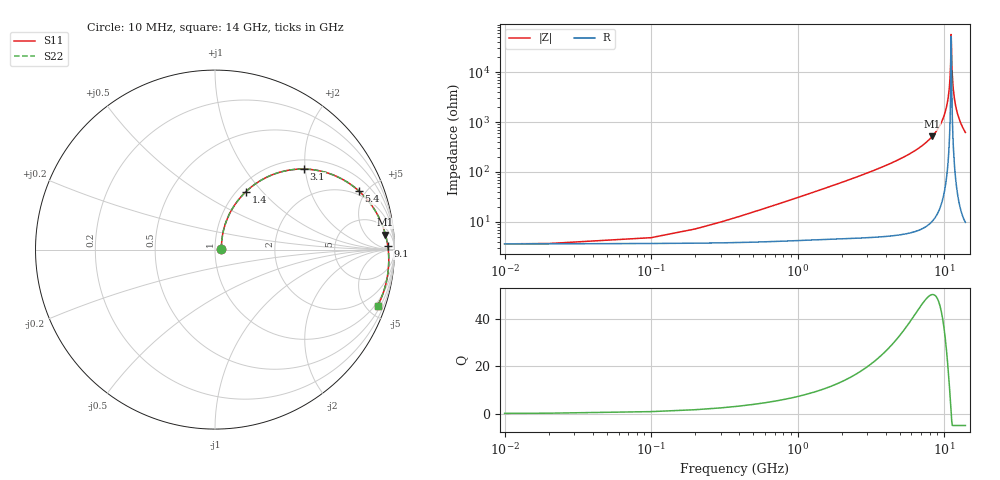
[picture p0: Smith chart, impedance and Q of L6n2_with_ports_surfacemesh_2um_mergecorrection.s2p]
#  GHZ S DB R 50.0
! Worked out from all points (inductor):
!   142 points, 10 MHz to 14 GHz, reference 50 ohm
!   read as one part in series: L = 4.85 nH near 400 MHz
!   highest Q = 50.3 at 8.3 GHz (marker M1), where L = 9.87 nH
!   self-resonance near 11.2 GHz
!   S11 on the Smith chart (normalised r, x): 10 MHz: 1.07, +0.01; 1.4 GHz: 1.10, +0.82; 3.1 GHz: 1.21, +1.97; 5.4 GHz: 1.72, +4.48; 9.1 GHz: 42, +22; 14 GHz: 0.75, -5.85
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0.01  -29.11 4.6  -0.31 -0.2  -0.31 -0.2  -29.11 4.6
0.3  -21.02 62.1  -0.38 -5.5  -0.38 -5.5  -21.02 62.1
0.6  -15.53 68.3  -0.51 -10.6  -0.51 -10.6  -15.53 68.3
1.4  -8.73 61.9  -1.10 -23.3  -1.10 -23.3  -8.74 61.9
2.4  -4.97 49.9  -2.25 -37.2  -2.25 -37.2  -4.97 49.9
3.1  -3.49 42.1  -3.25 -45.6  -3.25 -45.6  -3.49 42.1
4.7  -1.68 27.4  -5.97 -61.1  -5.97 -61.1  -1.68 27.4
5.4  -1.25 22.2  -7.31 -66.5  -7.31 -66.5  -1.25 22.2
7.1  -0.63 11.4  -11.11 -77.5  -11.11 -77.5  -0.64 11.4
8.3  -0.41 5.0  -14.58 -83.9  -14.58 -83.9  -0.41 5.0
9.1  -0.33 1.1  -17.65 -87.7  -17.65 -87.7  -0.33 1.1
9.4  -0.30 -0.3  -19.07 -89.0  -19.07 -89.0  -0.30 -0.3
10.3  -0.26 -4.3  -25.31 -92.3  -25.31 -92.3  -0.26 -4.3
10.8  -0.25 -6.4  -32.33 -92.4  -32.33 -92.4  -0.25 -6.4
11  -0.24 -7.2  -38.12 -89.7  -38.12 -89.7  -0.25 -7.2
11.1  -0.24 -7.7  -43.53 -83.8  -43.53 -83.8  -0.24 -7.6
11.2  -0.24 -8.1  -55.41 -30.8  -55.41 -30.8  -0.24 -8.1
11.3  -0.24 -8.5  -45.44 64.8  -45.44 64.8  -0.25 -8.5
11.4  -0.25 -8.9  -39.19 73.2  -39.19 73.2  -0.25 -8.9
11.7  -0.25 -10.1  -31.07 76.9  -31.07 76.9  -0.25 -10.1
12.5  -0.27 -13.3  -22.83 75.6  -22.83 75.6  -0.27 -13.3
14  -0.36 -19.1  -16.41 70.3  -16.41 70.3  -0.36 -19.1
